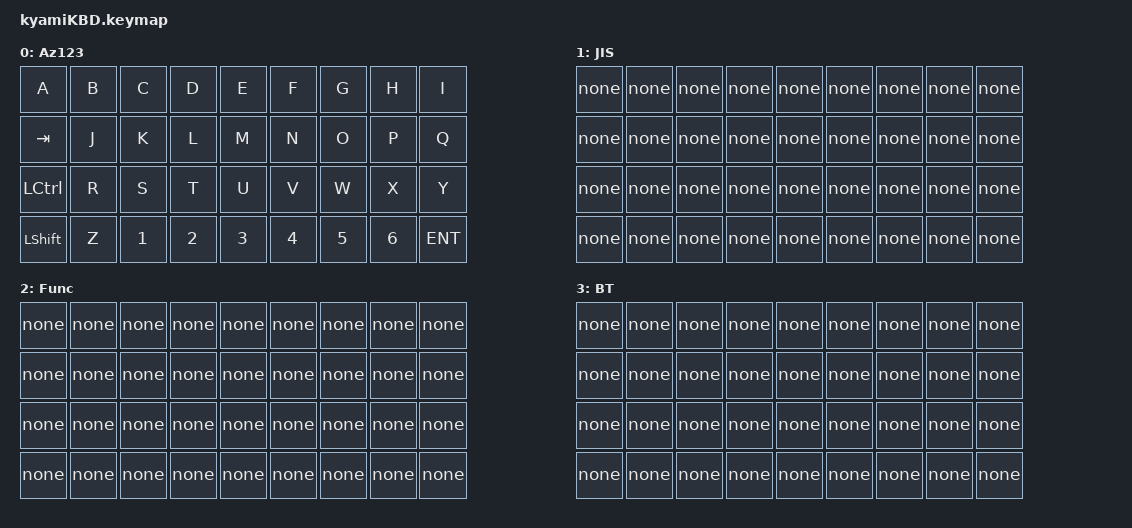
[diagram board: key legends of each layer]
#include <behaviors.dtsi>
#include <dt-bindings/zmk/keys.h>
#include <dt-bindings/zmk/pointing.h>
#include <dt-bindings/zmk/bt.h>
#include <behaviors/rgbled_widget.dtsi>

#define JIS 1
#define BT 3

&mt {
   flavor = "tap-preferred";
   quick_tap_ms = <125>;
   tapping_term_ms = <250>;
};
 
/ {
    macros {
        to_layer_0: to_layer_0 {
            compatible = "zmk,behavior-macro-one-param";
            #binding-cells = <1>;
            bindings = <&to 0 &macro_param_1to1 &kp MACRO_PLACEHOLDER>;
            label = "TO_LAYER_0";
        };
    };

    behaviors {
        lt_to_layer_0: lt_to_layer_0 {
            compatible = "zmk,behavior-hold-tap";
            label = "LAYER_TAP_TO_0";
            bindings = <&mo>, <&to_layer_0>;

            #binding-cells = <2>;
            tapping-term-ms = <200>;
        };
        toJIS: toJIS {
            compatible = "zmk,behavior-hold-tap";
            label = "toJIS";
            #binding-cells = <2>;
            tapping-term-ms = <200>;
            quick-tap-ms = <0>;
            bindings = <&tog>, <&kp>;
        };
        mo2: mo2 {
            compatible = "zmk,behavior-mod-morph";
            #binding-cells = <0>;
            bindings = <&kp N2>, <&kp LBKT>;
            mods = <(MOD_LSFT|MOD_RSFT)>;
        };
        mo6: mo6 {
            compatible = "zmk,behavior-mod-morph";
            #binding-cells = <0>;
            bindings = <&kp N6>, <&kp EQUAL>;
            mods = <(MOD_LSFT|MOD_RSFT)>;
        };
        mo7: mo7 {
            compatible = "zmk,behavior-mod-morph";
            #binding-cells = <0>;
            bindings = <&kp N7>, <&kp LS(N6)>;
            mods = <(MOD_LSFT|MOD_RSFT)>;
        };
        mo8: mo8 {
            compatible = "zmk,behavior-mod-morph";
            #binding-cells = <0>;
            bindings = <&kp N8>, <&kp LS(SQT)>;
            mods = <(MOD_LSFT|MOD_RSFT)>;
        };
        mo9: mo9 {
            compatible = "zmk,behavior-mod-morph";
            #binding-cells = <0>;
            bindings = <&kp N9>, <&kp LS(N8)>;
            mods = <(MOD_LSFT|MOD_RSFT)>;
        };
        mo0: mo0 {
            compatible = "zmk,behavior-mod-morph";
            #binding-cells = <0>;
            bindings = <&kp N0>, <&kp LS(N9)>;
            mods = <(MOD_LSFT|MOD_RSFT)>;
        };
        moMINUS: moMINUS {
            compatible = "zmk,behavior-mod-morph";
            #binding-cells = <0>;
            bindings = <&kp MINUS>, <&kp LS(INT_RO)>;
            mods = <(MOD_LSFT|MOD_RSFT)>;
        };
        moEQUAL: moEQUAL {
            compatible = "zmk,behavior-mod-morph";
            #binding-cells = <0>;
            bindings = <&kp LS(MINUS)>, <&kp COLON>;
            mods = <(MOD_LSFT|MOD_RSFT)>;
        };
        moLBKT: moLBKT {
            compatible = "zmk,behavior-mod-morph";
            #binding-cells = <0>;
            bindings = <&kp RBKT>, <&kp LS(RBRC)>;
            mods = <(MOD_LSFT|MOD_RSFT)>;
        };
        moRBKT: moRBKT {
            compatible = "zmk,behavior-mod-morph";
            #binding-cells = <0>;
            bindings = <&kp BSLH>, <&kp LS(BSLH)>;
            mods = <(MOD_LSFT|MOD_RSFT)>;
        };
        moSEMI: moSEMI {
            compatible = "zmk,behavior-mod-morph";
            #binding-cells = <0>;
            bindings = <&kp SEMI>, <&kp SQT>;
            mods = <(MOD_LSFT|MOD_RSFT)>;
        };
        moSQT: moSQT {
            compatible = "zmk,behavior-mod-morph";
            #binding-cells = <0>;
            bindings = <&kp LS(N7)>, <&kp LS(N2)>;
            mods = <(MOD_LSFT|MOD_RSFT)>;
        };
        moGRAVE: moGRAVE {
            compatible = "zmk,behavior-mod-morph";
            #binding-cells = <0>;
            bindings = <&kp LS(LBRC)>, <&kp LS(EQUAL)>;
            mods = <(MOD_LSFT|MOD_RSFT)>;
        };
    }; 
 
   keymap {
    compatible = "zmk,keymap";
    default_layer {
        label = "Az123";
        bindings = <
            &kp A     &kp B     &kp C     &kp D     &kp E     &kp F     &kp G     &kp H     &kp I
            &kp TAB     &kp J      &kp K      &kp L      &kp M      &kp N      &kp O      &kp P      &kp Q
            &kp LCTL    &kp R      &kp S      &kp T      &kp U      &kp V      &kp W      &kp X      &kp Y
            &kp LSHFT   &kp Z      &kp N1      &kp N2      &kp N3      &kp N4      &kp N5      &kp N6      &kp ENT
>;
       };

        jis_layer {
           label = "JIS";
           bindings = <
            &kp none     &kp none     &kp none     &kp none     &kp none     &kp none     &kp none     &kp none     &kp none
            &kp none     &kp none      &kp none      &kp none      &kp none      &kp none      &kp none      &kp none      &kp none
            &kp none    &kp none      &kp none      &kp none      &kp none      &kp none      &kp none      &kp none      &kp none
            &kp none   &kp none      &kp none      &kp none      &kp none      &kp none      &kp none      &kp none      &kp none
>;
       };

       function_layer {
           label = "Func";
           bindings = <
            &kp none     &kp none     &kp none     &kp none     &kp none     &kp none     &kp none     &kp none     &kp none
            &kp none     &kp none      &kp none      &kp none      &kp none      &kp none      &kp none      &kp none      &kp none
            &kp none    &kp none      &kp none      &kp none      &kp none      &kp none      &kp none      &kp none      &kp none
            &kp none   &kp none      &kp none      &kp none      &kp none      &kp none      &kp none      &kp none      &kp none
>;
       };

        bt_layer {
           display-name = "BT";    
           label = "BT";
            bindings = <
            &kp none     &kp none     &kp none     &kp none     &kp none     &kp none     &kp none     &kp none     &kp none
            &kp none     &kp none      &kp none      &kp none      &kp none      &kp none      &kp none      &kp none      &kp none
            &kp none    &kp none      &kp none      &kp none      &kp none      &kp none      &kp none      &kp none      &kp none
            &kp none   &kp none      &kp none      &kp none      &kp none      &kp none      &kp none      &kp none      &kp none
>;
       };
    };
};
